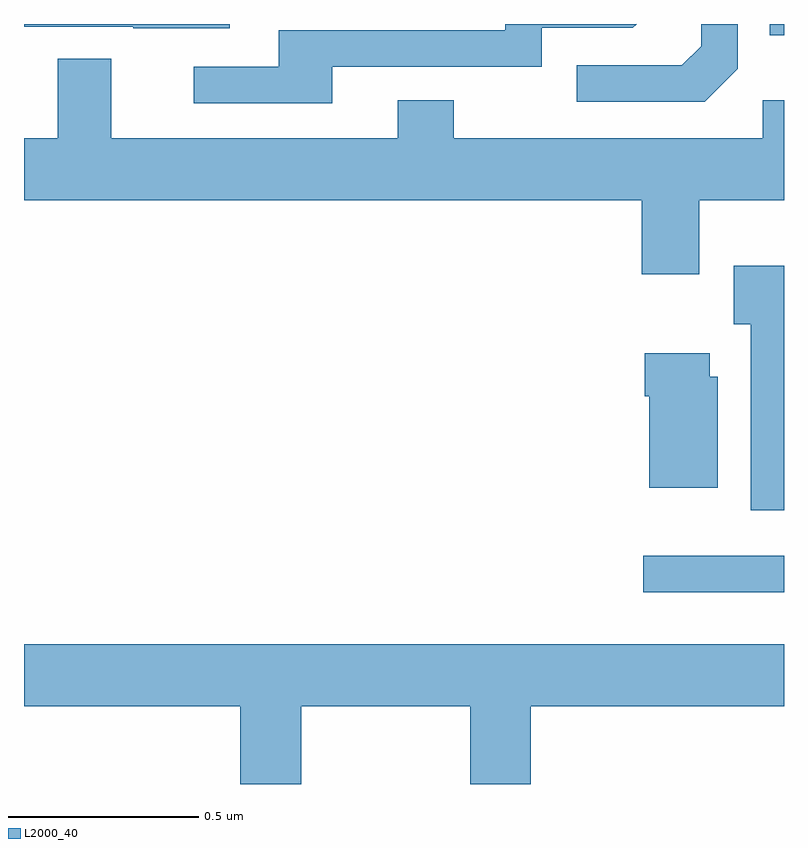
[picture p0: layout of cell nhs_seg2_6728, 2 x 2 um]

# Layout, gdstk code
import gdstk
lib = gdstk.Library(unit=1e-6, precision=1e-09)
def R(c, l, rs):  # rectangles x0, y0, x1, y1
    for r in rs: c.add(gdstk.rectangle(r[:2], r[2:], *l))
def P(c, l, *ps):  # polygons
    for p in ps: c.add(gdstk.Polygon(p, *l))
L2000_40 = (2000, 40)

nhs_seg2_6728 = lib.new_cell('nhs_seg2_6728')
R(nhs_seg2_6728, L2000_40, [(196.629,613.304,197,613.401), (196.963,614.771,197,614.8)])
P(nhs_seg2_6728, L2000_40, [(195.811,614.688),(196.362,614.688),(196.362,614.79),(196.602,614.79),(196.612,614.8),(196.266,614.8),(196.266,614.784),(195.671,614.784),(195.671,614.688),(195.447,614.688),(195.447,614.592),(195.811,614.592)],
  [(196.878,614.682),(196.878,614.8),(196.782,614.8),(196.782,614.742),(196.731,614.691),(196.455,614.691),(196.455,614.595),(196.791,614.595)],
  [(195.541,614.8),(195,614.8),(195,614.793),(195.287,614.793),(195.287,614.789),(195.541,614.789)],
  [(196.777,614.336),(197,614.336),(197,614.599),(196.944,614.599),(196.944,614.5),(196.131,614.5),(196.131,614.599),(195.983,614.599),(195.983,614.5),(195.229,614.5),(195.229,614.708),(195.089,614.708),(195.089,614.5),(195,614.5),(195,614.336),(196.625,614.336),(196.625,614.142),(196.777,614.142)],
  [(197,614.164),(196.868,614.164),(196.868,614.01),(196.913,614.01),(196.913,613.521),(197,613.521)],
  [(196.825,613.872),(196.804,613.872),(196.804,613.933),(196.634,613.933),(196.634,613.82),(196.646,613.82),(196.646,613.58),(196.825,613.58)],
  [(195.729,613.004),(196.174,613.004),(196.174,612.8),(196.334,612.8),(196.334,613.004),(197,613.004),(197,613.168),(195,613.168),(195,613.004),(195.569,613.004),(195.569,612.8),(195.729,612.8)])

lib.write_gds('nhs_seg2_6728.gds')
